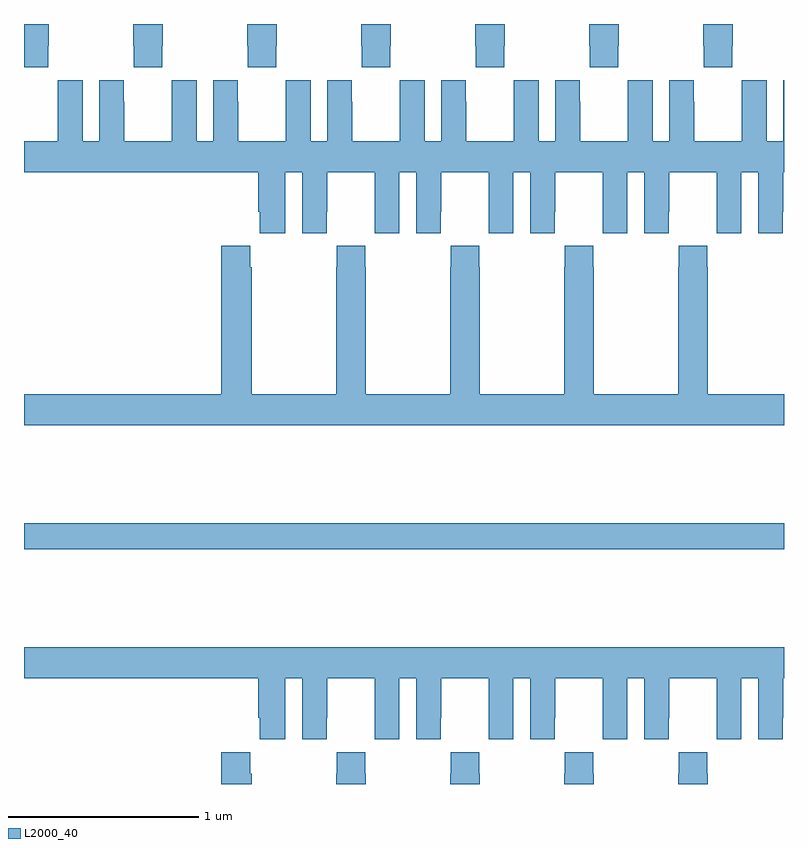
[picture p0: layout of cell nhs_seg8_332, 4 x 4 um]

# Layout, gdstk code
import gdstk
lib = gdstk.Library(unit=1e-6, precision=1e-09)
def R(c, l, rs):  # rectangles x0, y0, x1, y1
    for r in rs: c.add(gdstk.rectangle(r[:2], r[2:], *l))
def P(c, l, *ps):  # polygons
    for p in ps: c.add(gdstk.Polygon(p, *l))
L2000_40 = (2000, 40)

nhs_seg8_332 = lib.new_cell('nhs_seg8_332')
R(nhs_seg8_332, L2000_40, [(131,1161.136,135,1161.272)])
P(nhs_seg8_332, L2000_40, [(131,1163.673),(131.127,1163.673),(131.127,1163.785),(131.13,1163.785),(131.13,1163.9),(131,1163.9)],
  [(134.727,1163.785),(134.73,1163.785),(134.73,1163.9),(134.575,1163.9),(134.575,1163.785),(134.577,1163.785),(134.577,1163.673),(134.727,1163.673)],
  [(134.127,1163.785),(134.13,1163.785),(134.13,1163.9),(133.975,1163.9),(133.975,1163.785),(133.977,1163.785),(133.977,1163.673),(134.127,1163.673)],
  [(133.527,1163.785),(133.53,1163.785),(133.53,1163.9),(133.375,1163.9),(133.375,1163.785),(133.377,1163.785),(133.377,1163.673),(133.527,1163.673)],
  [(132.927,1163.785),(132.93,1163.785),(132.93,1163.9),(132.775,1163.9),(132.775,1163.785),(132.777,1163.785),(132.777,1163.673),(132.927,1163.673)],
  [(132.327,1163.785),(132.33,1163.785),(132.33,1163.9),(132.175,1163.9),(132.175,1163.785),(132.177,1163.785),(132.177,1163.673),(132.327,1163.673)],
  [(131.727,1163.785),(131.73,1163.785),(131.73,1163.9),(131.575,1163.9),(131.575,1163.785),(131.577,1163.785),(131.577,1163.673),(131.727,1163.673)],
  [(133.927,1163.492),(133.926,1163.492),(133.926,1163.605),(133.796,1163.605),(133.796,1163.284),(133.708,1163.284),(133.708,1163.605),(133.578,1163.605),(133.578,1163.492),(133.577,1163.492),(133.577,1163.284),(133.327,1163.284),(133.327,1163.492),(133.326,1163.492),(133.326,1163.605),(133.196,1163.605),(133.196,1163.284),(133.108,1163.284),(133.108,1163.605),(132.978,1163.605),(132.978,1163.492),(132.977,1163.492),(132.977,1163.284),(132.727,1163.284),(132.727,1163.492),(132.726,1163.492),(132.726,1163.605),(132.596,1163.605),(132.596,1163.284),(132.508,1163.284),(132.508,1163.605),(132.378,1163.605),(132.378,1163.492),(132.377,1163.492),(132.377,1163.284),(132.127,1163.284),(132.127,1163.492),(132.126,1163.492),(132.126,1163.605),(131.996,1163.605),(131.996,1163.284),(131.908,1163.284),(131.908,1163.605),(131.778,1163.605),(131.778,1163.492),(131.777,1163.492),(131.777,1163.284),(131.527,1163.284),(131.527,1163.492),(131.526,1163.492),(131.526,1163.605),(131.396,1163.605),(131.396,1163.284),(131.308,1163.284),(131.308,1163.605),(131.178,1163.605),(131.178,1163.492),(131.177,1163.492),(131.177,1163.284),(131,1163.284),(131,1163.12),(132.233,1163.12),(132.233,1162.912),(132.242,1162.912),(132.242,1162.8),(132.376,1162.8),(132.376,1163.12),(132.464,1163.12),(132.464,1162.8),(132.594,1162.8),(132.594,1162.912),(132.595,1162.912),(132.595,1163.12),(132.845,1163.12),(132.845,1162.912),(132.846,1162.912),(132.846,1162.8),(132.976,1162.8),(132.976,1163.12),(133.064,1163.12),(133.064,1162.8),(133.194,1162.8),(133.194,1162.912),(133.195,1162.912),(133.195,1163.12),(133.445,1163.12),(133.445,1162.912),(133.446,1162.912),(133.446,1162.8),(133.576,1162.8),(133.576,1163.12),(133.664,1163.12),(133.664,1162.8),(133.794,1162.8),(133.794,1162.912),(133.795,1162.912),(133.795,1163.12),(134.045,1163.12),(134.045,1162.912),(134.046,1162.912),(134.046,1162.8),(134.176,1162.8),(134.176,1163.12),(134.264,1163.12),(134.264,1162.8),(134.394,1162.8),(134.394,1162.912),(134.395,1162.912),(134.395,1163.12),(134.645,1163.12),(134.645,1162.912),(134.646,1162.912),(134.646,1162.8),(134.776,1162.8),(134.776,1163.12),(134.864,1163.12),(134.864,1162.8),(134.994,1162.8),(134.994,1162.912),(134.995,1162.912),(134.995,1163.12),(135,1163.12),(135,1163.605),(134.996,1163.605),(134.996,1163.284),(134.908,1163.284),(134.908,1163.605),(134.778,1163.605),(134.778,1163.492),(134.777,1163.492),(134.777,1163.284),(134.527,1163.284),(134.527,1163.492),(134.526,1163.492),(134.526,1163.605),(134.396,1163.605),(134.396,1163.284),(134.308,1163.284),(134.308,1163.605),(134.178,1163.605),(134.178,1163.492),(134.177,1163.492),(134.177,1163.284),(133.927,1163.284)],
  [(135,1161.952),(134.598,1161.952),(134.598,1162.619),(134.595,1162.619),(134.595,1162.732),(134.445,1162.732),(134.445,1162.619),(134.443,1162.619),(134.443,1161.952),(133.998,1161.952),(133.998,1162.619),(133.995,1162.619),(133.995,1162.732),(133.845,1162.732),(133.845,1162.619),(133.843,1162.619),(133.843,1161.952),(133.398,1161.952),(133.398,1162.619),(133.395,1162.619),(133.395,1162.732),(133.245,1162.732),(133.245,1162.619),(133.243,1162.619),(133.243,1161.952),(132.798,1161.952),(132.798,1162.619),(132.795,1162.619),(132.795,1162.732),(132.645,1162.732),(132.645,1162.619),(132.643,1162.619),(132.643,1161.952),(132.198,1161.952),(132.198,1162.619),(132.191,1162.619),(132.191,1162.732),(132.038,1162.732),(132.038,1161.952),(131,1161.952),(131,1161.788),(135,1161.788)],
  [(131,1160.456),(132.233,1160.456),(132.233,1160.248),(132.242,1160.248),(132.242,1160.136),(132.376,1160.136),(132.376,1160.456),(132.464,1160.456),(132.464,1160.136),(132.594,1160.136),(132.594,1160.248),(132.595,1160.248),(132.595,1160.456),(132.845,1160.456),(132.845,1160.248),(132.846,1160.248),(132.846,1160.136),(132.976,1160.136),(132.976,1160.456),(133.064,1160.456),(133.064,1160.136),(133.194,1160.136),(133.194,1160.248),(133.195,1160.248),(133.195,1160.456),(133.445,1160.456),(133.445,1160.248),(133.446,1160.248),(133.446,1160.136),(133.576,1160.136),(133.576,1160.456),(133.664,1160.456),(133.664,1160.136),(133.794,1160.136),(133.794,1160.248),(133.795,1160.248),(133.795,1160.456),(134.045,1160.456),(134.045,1160.248),(134.046,1160.248),(134.046,1160.136),(134.176,1160.136),(134.176,1160.456),(134.264,1160.456),(134.264,1160.136),(134.394,1160.136),(134.394,1160.248),(134.395,1160.248),(134.395,1160.456),(134.645,1160.456),(134.645,1160.248),(134.646,1160.248),(134.646,1160.136),(134.776,1160.136),(134.776,1160.456),(134.864,1160.456),(134.864,1160.136),(134.994,1160.136),(134.994,1160.248),(134.995,1160.248),(134.995,1160.456),(135,1160.456),(135,1160.62),(131,1160.62)],
  [(134.598,1159.955),(134.595,1159.955),(134.595,1160.068),(134.445,1160.068),(134.445,1159.955),(134.443,1159.955),(134.443,1159.9),(134.598,1159.9)],
  [(133.998,1159.955),(133.995,1159.955),(133.995,1160.068),(133.845,1160.068),(133.845,1159.955),(133.843,1159.955),(133.843,1159.9),(133.998,1159.9)],
  [(133.398,1159.955),(133.395,1159.955),(133.395,1160.068),(133.245,1160.068),(133.245,1159.955),(133.243,1159.955),(133.243,1159.9),(133.398,1159.9)],
  [(132.798,1159.955),(132.795,1159.955),(132.795,1160.068),(132.645,1160.068),(132.645,1159.955),(132.643,1159.955),(132.643,1159.9),(132.798,1159.9)],
  [(132.198,1159.955),(132.191,1159.955),(132.191,1160.068),(132.038,1160.068),(132.038,1159.9),(132.198,1159.9)])

lib.write_gds('nhs_seg8_332.gds')
